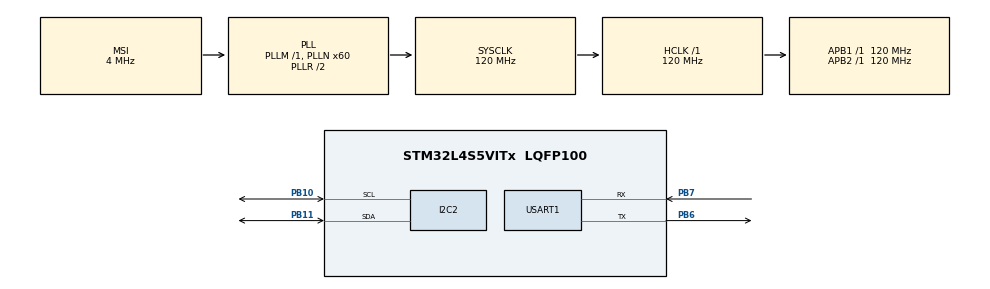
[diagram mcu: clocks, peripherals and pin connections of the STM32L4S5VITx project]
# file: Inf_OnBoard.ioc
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I2C2.Timing=0x30A175AB
Mcu.Family=STM32L4
Mcu.Name=STM32L4S5VITx
Mcu.Package=LQFP100
NVIC.PriorityGroup=NVIC_PRIORITYGROUP_4
PB10.Mode=I2C
PB10.Signal=I2C2_SCL
PB11.Mode=I2C
PB11.Signal=I2C2_SDA
PB6.Mode=Asynchronous
PB6.Signal=USART1_TX
PB7.Mode=Asynchronous
PB7.Signal=USART1_RX
ProjectManager.HeapSize=0x200
ProjectManager.StackSize=0x400
ProjectManager.TargetToolchain=STM32CubeIDE
RCC.ADCFreq_Value=48000000
RCC.AHBFreq_Value=120000000
RCC.APB1Freq_Value=120000000
RCC.APB1TimFreq_Value=120000000
RCC.APB2Freq_Value=120000000
RCC.APB2TimFreq_Value=120000000
RCC.CortexFreq_Value=120000000
RCC.HCLKFreq_Value=120000000
RCC.HSE_VALUE=8000000
RCC.HSI48_VALUE=48000000
RCC.HSI_VALUE=16000000
RCC.MSI_VALUE=4000000
RCC.PLLN=60
RCC.PLLSAI1N=24
RCC.SYSCLKFreq_VALUE=120000000
RCC.SYSCLKSource=RCC_SYSCLKSOURCE_PLLCLK
RCC.USBFreq_Value=48000000
RCC.VCOOutputFreq_Value=240000000
STMicroelectronics.X-CUBE-AI.10.2.1.ActivationBufferSizeList=2092
STMicroelectronics.X-CUBE-AI.10.2.1.ActivationBuffers=pool0
STMicroelectronics.X-CUBE-AI.10.2.1.ActivationNames=pool0
STMicroelectronics.X-CUBE-AI.10.2.1.ActivationSizes=AI_NETWORK_DATA_ACTIVATION_1_SIZE
STMicroelectronics.X-CUBE-AI.10.2.1.HeapSize=0x800
STMicroelectronics.X-CUBE-AI.10.2.1.InternalRamActivationBufferMaxSize=AI_NETWORK_DATA_ACTIVATIONS_SIZE
STMicroelectronics.X-CUBE-AI.10.2.1.LatestDirectoryUsed-129f699b0a65c88ef9f2dbee8d02ff0745f8f7f50be2e8c881ca9a991383b5ed=D\:\\TinyML_Workshop-main\\TinyML_Workshop_PGR\\TinyML_PGR\\ONNX
STMicroelectronics.X-CUBE-AI.10.2.1.MaximumNumberOfInputLayer=1
STMicroelectronics.X-CUBE-AI.10.2.1.MaximumNumberOfOutputLayer=1
STMicroelectronics.X-CUBE-AI.10.2.1.MaximumSizeOfInputLayer=1
STMicroelectronics.X-CUBE-AI.10.2.1.MaximumSizeOfOutputLayer=1,1
STMicroelectronics.X-CUBE-AI.10.2.1.ModelActualCompression-129f699b0a65c88ef9f2dbee8d02ff0745f8f7f50be2e8c881ca9a991383b5ed=0.0
STMicroelectronics.X-CUBE-AI.10.2.1.ModelCompression-129f699b0a65c88ef9f2dbee8d02ff0745f8f7f50be2e8c881ca9a991383b5ed=High
STMicroelectronics.X-CUBE-AI.10.2.1.ModelFlashOccupation-129f699b0a65c88ef9f2dbee8d02ff0745f8f7f50be2e8c881ca9a991383b5ed=1959396
STMicroelectronics.X-CUBE-AI.10.2.1.ModelHashList=129f699b0a65c88ef9f2dbee8d02ff0745f8f7f50be2e8c881ca9a991383b5ed
STMicroelectronics.X-CUBE-AI.10.2.1.ModelKind-129f699b0a65c88ef9f2dbee8d02ff0745f8f7f50be2e8c881ca9a991383b5ed=ONNX
STMicroelectronics.X-CUBE-AI.10.2.1.ModelMacc-129f699b0a65c88ef9f2dbee8d02ff0745f8f7f50be2e8c881ca9a991383b5ed=1411
STMicroelectronics.X-CUBE-AI.10.2.1.ModelName-129f699b0a65c88ef9f2dbee8d02ff0745f8f7f50be2e8c881ca9a991383b5ed=network
STMicroelectronics.X-CUBE-AI.10.2.1.ModelNameList=network
STMicroelectronics.X-CUBE-AI.10.2.1.ModelRamOccupation-129f699b0a65c88ef9f2dbee8d02ff0745f8f7f50be2e8c881ca9a991383b5ed=2092
STMicroelectronics.X-CUBE-AI.10.2.1.ModelStructureFile-129f699b0a65c88ef9f2dbee8d02ff0745f8f7f50be2e8c881ca9a991383b5ed=D\:\\TinyML_Workshop-main\\TinyML_Workshop_PGR\\TinyML_PGR\\ONNX\\random_forest_model.onnx
STMicroelectronics.X-CUBE-AI.10.2.1.ModelType-129f699b0a65c88ef9f2dbee8d02ff0745f8f7f50be2e8c881ca9a991383b5ed=STM32Cube.AI MCU runtime
STMicroelectronics.X-CUBE-AI.10.2.1.ReadyForCodeGeneration=true
STMicroelectronics.X-CUBE-AI.10.2.1.StackSize=0x800
STMicroelectronics.X-CUBE-AI.10.2.1.WorkingBufferStartAddrList=0xFFFFFFFF
STMicroelectronics.X-CUBE-AI.10.2.1.XAaCUBEAaAICcArtificialOoIntelligenceJjCore=true
STMicroelectronics.X-CUBE-AI.10.2.1.copyWeightToRam=false
STMicroelectronics.X-CUBE-AI.10.2.1.copyWeightToRam-129f699b0a65c88ef9f2dbee8d02ff0745f8f7f50be2e8c881ca9a991383b5ed=false
STMicroelectronics.X-CUBE-AI.10.2.1.customLayerConfigEnabled=false
STMicroelectronics.X-CUBE-AI.10.2.1.customLayerConfigEnabled-129f699b0a65c88ef9f2dbee8d02ff0745f8f7f50be2e8c881ca9a991383b5ed=false
STMicroelectronics.X-CUBE-AI.10.2.1.noOnnxIoTranspose=false
STMicroelectronics.X-CUBE-AI.10.2.1.noOnnxIoTranspose-129f699b0a65c88ef9f2dbee8d02ff0745f8f7f50be2e8c881ca9a991383b5ed=false
STMicroelectronics.X-CUBE-AI.10.2.1.useInputAllocation=true
STMicroelectronics.X-CUBE-AI.10.2.1.useInputAllocation-129f699b0a65c88ef9f2dbee8d02ff0745f8f7f50be2e8c881ca9a991383b5ed=true
STMicroelectronics.X-CUBE-AI.10.2.1.useOutputAllocation=true
STMicroelectronics.X-CUBE-AI.10.2.1.useOutputAllocation-129f699b0a65c88ef9f2dbee8d02ff0745f8f7f50be2e8c881ca9a991383b5ed=true
USART1.VirtualMode-Asynchronous=VM_ASYNC
VP_STMicroelectronics.X-CUBE-AI_VS_ArtificialOoIntelligenceJjXAaCUBEAaAI_10.2.1.Mode=ArtificialOoIntelligenceJjXAaCUBEAaAI
board=B-L4S5I-IOT01A

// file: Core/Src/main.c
/* USER CODE BEGIN Header */
/**
  ******************************************************************************
  * @file           : main.c
  * @brief          : Main program body
  ******************************************************************************
  * @attention
  *
  * Copyright (c) 2026 STMicroelectronics.
  * All rights reserved.
  *
  * This software is licensed under terms that can be found in the LICENSE file
  * in the root directory of this software component.
  * If no LICENSE file comes with this software, it is provided AS-IS.
  *
  ******************************************************************************
  */
/* USER CODE END Header */
#include "main.h"

/* USER CODE BEGIN Includes */
#include "stdio.h"
#include "string.h"
#include "network.h"
#include "network_data.h"
#include "network_data_params.h"
/* USER CODE END Includes */

I2C_HandleTypeDef hi2c2;

UART_HandleTypeDef huart1;

/* USER CODE BEGIN PV */
ai_handle network = AI_HANDLE_NULL;

AI_ALIGNED(4)
static ai_u8 activations_buffer[AI_NETWORK_DATA_ACTIVATIONS_SIZE];

static ai_buffer *ai_input;
static ai_buffer *ai_output;

/* Input Features */
float input_data[6] =
{
    5.1f,
    3.5f,
    1.4f,
    0.2f,
    0.0f,
    0.0f
};

/* Predicted Label */
int32_t predicted_label;

/* Output Probabilities */
float probabilities[10];

/* USER CODE END PV */

void SystemClock_Config(void);
static void MX_GPIO_Init(void);
static void MX_I2C2_Init(void);
static void MX_USART1_UART_Init(void);

/* USER CODE BEGIN 0 */
void MX_X_CUBE_AI_Init(void)
{
    ai_error err;

    /* Activation memory */
    const ai_handle activations[] =
    {
    		activations_buffer
    };

    /* Use embedded weights generated by X-CUBE-AI */
    err = ai_network_create_and_init(
            &network,
            activations,
            NULL);

    if (err.type != AI_ERROR_NONE)
    {
        printf("AI Init Failed\r\n");
        printf("Type = %d\r\n", err.type);
        printf("Code = %d\r\n", err.code);
        Error_Handler();
    }

    ai_input  = ai_network_inputs_get(network, NULL);
    ai_output = ai_network_outputs_get(network, NULL);

    printf("AI Initialized Successfully\r\n");
}

/* USER CODE END 0 */

int main(void)
{

  /* MCU Configuration--------------------------------------------------------*/

  /* Reset of all peripherals, Initializes the Flash interface and the Systick. */
  HAL_Init();

  /* Configure the system clock */
  SystemClock_Config();

  /* Initialize all configured peripherals */
  MX_GPIO_Init();
  MX_I2C2_Init();
  MX_USART1_UART_Init();
  /* USER CODE BEGIN 2 */
  printf("\r\n");
    printf("Random Forest STM32 Demo\r\n");

    MX_X_CUBE_AI_Init();

  /* USER CODE END 2 */

  /* Infinite loop */
  while (1)
  {

    /* USER CODE BEGIN 3 */
	  AI_Run();

	 HAL_Delay(3000);
  }
  /* USER CODE END 3 */
}

void SystemClock_Config(void)
{
  RCC_OscInitTypeDef RCC_OscInitStruct = {0};
  RCC_ClkInitTypeDef RCC_ClkInitStruct = {0};

  /** Configure the main internal regulator output voltage
  */
  if (HAL_PWREx_ControlVoltageScaling(PWR_REGULATOR_VOLTAGE_SCALE1_BOOST) != HAL_OK)
  {
    Error_Handler();
  }

  /** Initializes the RCC Oscillators according to the specified parameters
  * in the RCC_OscInitTypeDef structure.
  */
  RCC_OscInitStruct.OscillatorType = RCC_OSCILLATORTYPE_MSI;
  RCC_OscInitStruct.MSIState = RCC_MSI_ON;
  RCC_OscInitStruct.MSICalibrationValue = 0;
  RCC_OscInitStruct.MSIClockRange = RCC_MSIRANGE_6;
  RCC_OscInitStruct.PLL.PLLState = RCC_PLL_ON;
  RCC_OscInitStruct.PLL.PLLSource = RCC_PLLSOURCE_MSI;
  RCC_OscInitStruct.PLL.PLLM = 1;
  RCC_OscInitStruct.PLL.PLLN = 60;
  RCC_OscInitStruct.PLL.PLLP = RCC_PLLP_DIV2;
  RCC_OscInitStruct.PLL.PLLQ = RCC_PLLQ_DIV2;
  RCC_OscInitStruct.PLL.PLLR = RCC_PLLR_DIV2;
  if (HAL_RCC_OscConfig(&RCC_OscInitStruct) != HAL_OK)
  {
    Error_Handler();
  }

  /** Initializes the CPU, AHB and APB buses clocks
  */
  RCC_ClkInitStruct.ClockType = RCC_CLOCKTYPE_HCLK|RCC_CLOCKTYPE_SYSCLK
                              |RCC_CLOCKTYPE_PCLK1|RCC_CLOCKTYPE_PCLK2;
  RCC_ClkInitStruct.SYSCLKSource = RCC_SYSCLKSOURCE_PLLCLK;
  RCC_ClkInitStruct.AHBCLKDivider = RCC_SYSCLK_DIV1;
  RCC_ClkInitStruct.APB1CLKDivider = RCC_HCLK_DIV1;
  RCC_ClkInitStruct.APB2CLKDivider = RCC_HCLK_DIV1;

  if (HAL_RCC_ClockConfig(&RCC_ClkInitStruct, FLASH_LATENCY_5) != HAL_OK)
  {
    Error_Handler();
  }
}

static void MX_I2C2_Init(void)
{

  hi2c2.Instance = I2C2;
  hi2c2.Init.Timing = 0x30A175AB;
  hi2c2.Init.OwnAddress1 = 0;
  hi2c2.Init.AddressingMode = I2C_ADDRESSINGMODE_7BIT;
  hi2c2.Init.DualAddressMode = I2C_DUALADDRESS_DISABLE;
  hi2c2.Init.OwnAddress2 = 0;
  hi2c2.Init.OwnAddress2Masks = I2C_OA2_NOMASK;
  hi2c2.Init.GeneralCallMode = I2C_GENERALCALL_DISABLE;
  hi2c2.Init.NoStretchMode = I2C_NOSTRETCH_DISABLE;
  if (HAL_I2C_Init(&hi2c2) != HAL_OK)
  {
    Error_Handler();
  }

  /** Configure Analogue filter
  */
  if (HAL_I2CEx_ConfigAnalogFilter(&hi2c2, I2C_ANALOGFILTER_ENABLE) != HAL_OK)
  {
    Error_Handler();
  }

  /** Configure Digital filter
  */
  if (HAL_I2CEx_ConfigDigitalFilter(&hi2c2, 0) != HAL_OK)
  {
    Error_Handler();
  }

}

static void MX_USART1_UART_Init(void)
{

  huart1.Instance = USART1;
  huart1.Init.BaudRate = 115200;
  huart1.Init.WordLength = UART_WORDLENGTH_8B;
  huart1.Init.StopBits = UART_STOPBITS_1;
  huart1.Init.Parity = UART_PARITY_NONE;
  huart1.Init.Mode = UART_MODE_TX_RX;
  huart1.Init.HwFlowCtl = UART_HWCONTROL_NONE;
  huart1.Init.OverSampling = UART_OVERSAMPLING_16;
  huart1.Init.OneBitSampling = UART_ONE_BIT_SAMPLE_DISABLE;
  huart1.Init.ClockPrescaler = UART_PRESCALER_DIV1;
  huart1.AdvancedInit.AdvFeatureInit = UART_ADVFEATURE_NO_INIT;
  if (HAL_UART_Init(&huart1) != HAL_OK)
  {
    Error_Handler();
  }
  if (HAL_UARTEx_SetTxFifoThreshold(&huart1, UART_TXFIFO_THRESHOLD_1_8) != HAL_OK)
  {
    Error_Handler();
  }
  if (HAL_UARTEx_SetRxFifoThreshold(&huart1, UART_RXFIFO_THRESHOLD_1_8) != HAL_OK)
  {
    Error_Handler();
  }
  if (HAL_UARTEx_DisableFifoMode(&huart1) != HAL_OK)
  {
    Error_Handler();
  }

}

static void MX_GPIO_Init(void)
{

  /* GPIO Ports Clock Enable */
  __HAL_RCC_GPIOB_CLK_ENABLE();

}

/* USER CODE BEGIN 4 */
int _write(int file, char *ptr, int len)
{
    HAL_UART_Transmit(&huart1, (uint8_t*)ptr, len, HAL_MAX_DELAY);
    return len;
}

void AI_Run(void)
{
    ai_i32 batch;

    ai_input[0].data = AI_HANDLE_PTR(input_data);

    ai_output[0].data = AI_HANDLE_PTR(&predicted_label);

    ai_output[1].data = AI_HANDLE_PTR(probabilities);

    batch = ai_network_run(network,
                           ai_input,
                           ai_output);

    if(batch != 1)
    {
        printf("Inference Error\r\n");
        return;
    }

    printf("\r\n-------------------------\r\n");

    printf("Predicted Class : %ld\r\n", predicted_label);

}

/* USER CODE END 4 */

void Error_Handler(void)
{
  __disable_irq();
  while (1)
  {
  }
}
